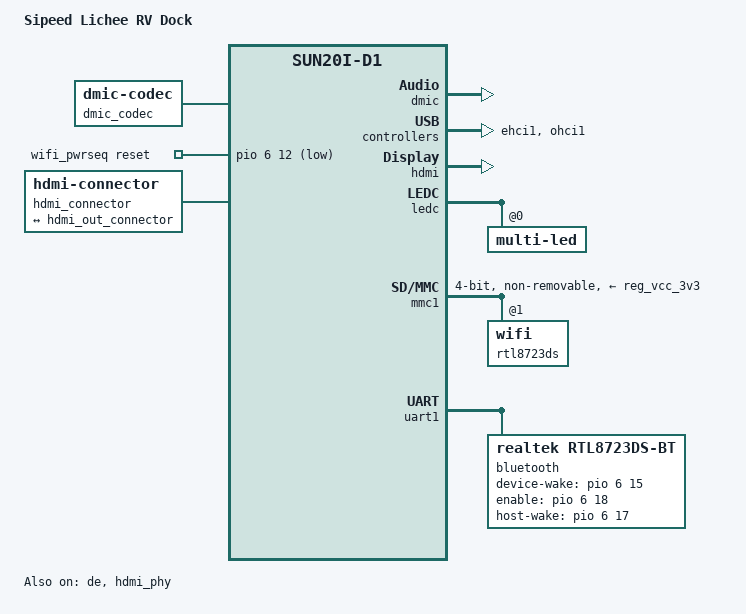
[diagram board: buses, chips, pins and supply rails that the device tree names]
// SPDX-License-Identifier: (GPL-2.0+ OR MIT)
// Copyright (C) 2022 Jisheng Zhang <jszhang@kernel.org>
// Copyright (C) 2022 Samuel Holland <samuel@sholland.org>

#include <dt-bindings/input/input.h>

#include "sun20i-d1-lichee-rv.dts"

/ {
	model = "Sipeed Lichee RV Dock";
	compatible = "sipeed,lichee-rv-dock", "sipeed,lichee-rv",
		     "allwinner,sun20i-d1";

	aliases {
		ethernet1 = &rtl8723ds;
	};

	/*
	 * The HiFi4 firmware links its .text/.data/.bss at 0x48000000
	 * (ddr1_0_seg, 4 MB), which is inside the SDRAM the kernel would
	 * otherwise hand out, so the region has to be kept away from it.
	 *
	 * It also has to stay clear of the kernel load address (0x40200000,
	 * about 19 MB with the current Image): U-Boot honours
	 * /reserved-memory when allocating, so carving this out of the
	 * kernel's path makes booti fail with "Failed to allocate memory for
	 * the image".
	 */
	reserved-memory {
		#address-cells = <1>;
		#size-cells = <1>;
		ranges;

		dsp_fw: dsp-firmware@48000000 {
			reg = <0x48000000 0x400000>;
			no-map;
		};
	};

	dmic_codec: dmic-codec {
		compatible = "dmic-codec";
		num-channels = <2>;
		#sound-dai-cells = <0>;
	};

	dmic-sound {
		compatible = "simple-audio-card";
		simple-audio-card,name = "DMIC";
		#address-cells = <1>;
		#size-cells = <0>;

		simple-audio-card,dai-link@0 {
			reg = <0>;
			format = "pdm";
			frame-master = <&link0_cpu>;
			bitclock-master = <&link0_cpu>;

			link0_cpu: cpu {
				sound-dai = <&dmic>;
			};

			link0_codec: codec {
				sound-dai = <&dmic_codec>;
			};
		};
	};

	wifi_pwrseq: wifi-pwrseq {
		compatible = "mmc-pwrseq-simple";
		reset-gpios = <&pio 6 12 GPIO_ACTIVE_LOW>; /* PG12 */
	};

	hdmi_connector: connector {
		compatible = "hdmi-connector";
		type = "a";

		port {
			hdmi_connector_in: endpoint {
				remote-endpoint = <&hdmi_out_connector>;
			};
		};
	};
};

&de {
	status = "okay";
};

&dmic {
	pinctrl-0 = <&dmic_pb11_d0_pin>, <&dmic_pe17_clk_pin>;
	pinctrl-names = "default";
	status = "okay";
};

&ehci1 {
	status = "okay";
};

&hdmi {
	hvcc-supply = <&reg_ldoa>;
	status = "okay";
};

&hdmi_out {
	hdmi_out_connector: endpoint {
		remote-endpoint = <&hdmi_connector_in>;
	};
};

&hdmi_phy {
	status = "okay";
};

&ledc {
	pinctrl-0 = <&ledc_pc0_pin>;
	pinctrl-names = "default";
	status = "okay";

	multi-led@0 {
		reg = <0x0>;
		color = <LED_COLOR_ID_RGB>;
		function = LED_FUNCTION_STATUS;
	};
};

&mmc1 {
	bus-width = <4>;
	mmc-pwrseq = <&wifi_pwrseq>;
	non-removable;
	vmmc-supply = <&reg_vcc_3v3>;
	vqmmc-supply = <&reg_vcc_3v3>;
	pinctrl-0 = <&mmc1_pins>;
	pinctrl-names = "default";
	status = "okay";

	rtl8723ds: wifi@1 {
		reg = <1>;
	};
};

&ohci1 {
	status = "okay";
};

&uart1 {
	uart-has-rtscts;
	pinctrl-0 = <&uart1_pg6_pins>, <&uart1_pg8_rts_cts_pins>;
	pinctrl-names = "default";
	status = "okay";

	bluetooth {
		compatible = "realtek,rtl8723ds-bt";
		device-wake-gpios = <&pio 6 15 GPIO_ACTIVE_HIGH>; /* PG16 */
		enable-gpios = <&pio 6 18 GPIO_ACTIVE_HIGH>; /* PG18 */
		host-wake-gpios = <&pio 6 17 GPIO_ACTIVE_HIGH>; /* PG17 */
	};
};

&usbphy {
	usb1_vbus-supply = <&reg_vcc>;
};
